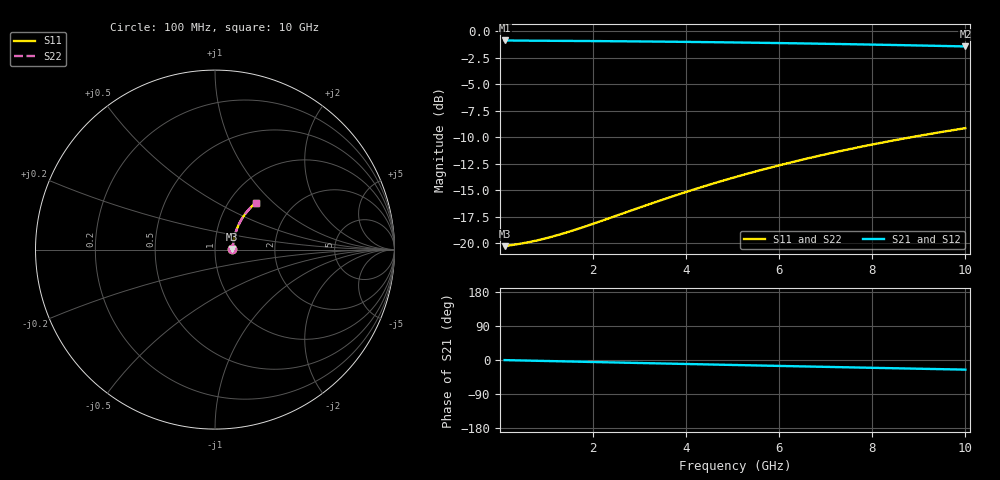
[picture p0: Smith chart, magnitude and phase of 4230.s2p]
# Hz S RI R 50.00
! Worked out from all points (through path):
!   100 points, 100 MHz to 10 GHz, reference 50 ohm
!   highest |S21| = -0.88 dB at 100 MHz (marker M1); lowest = -1.4 dB at 10 GHz (marker M2)
!   group delay of S21, straight-line fit = 7.07 ps
!   lowest |S11| = -20.3 dB at 100 MHz (marker M3), VSWR 1.21, Z = 60.7 + j0.39 ohm
!   |S11| at or under -10 dB: start of sweep to 8.849 GHz
!   |S22| runs from -20.3 to -9.2 dB; largest |S21 - S12| = 0
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1e8  0.0967 0.00318  0.9033 -0.00418  0.9033 -0.00418  0.0967 0.00318
5e8  0.0987 0.0158  0.9013 -0.0208  0.9013 -0.0208  0.0987 0.0158
7e8  0.0995 0.0221  0.9005 -0.0291  0.9005 -0.0291  0.0995 0.0221
9e8  0.1003 0.0284  0.8996 -0.0374  0.8996 -0.0374  0.1003 0.0284
1.1e9  0.1012 0.0346  0.8987 -0.0457  0.8987 -0.0457  0.1012 0.0346
1.3e9  0.1022 0.0409  0.8977 -0.0539  0.8977 -0.0539  0.1022 0.0409
1.5e9  0.1033 0.0471  0.8966 -0.0622  0.8966 -0.0622  0.1033 0.0471
1.8e9  0.105 0.0563  0.8948 -0.0744  0.8948 -0.0744  0.105 0.0563
2.6e9  0.1108 0.0807  0.8888 -0.1069  0.8888 -0.1069  0.1108 0.0807
3.4e9  0.1181 0.1045  0.8812 -0.1387  0.8812 -0.1387  0.1181 0.1045
3.9e9  0.1235 0.119  0.8756 -0.1582  0.8756 -0.1582  0.1235 0.119
4.3e9  0.1283 0.1303  0.8707 -0.1736  0.8707 -0.1736  0.1283 0.1303
4.7e9  0.1334 0.1415  0.8654 -0.1888  0.8654 -0.1888  0.1334 0.1415
5.1e9  0.1389 0.1524  0.8597 -0.2037  0.8597 -0.2037  0.1389 0.1524
5.5e9  0.1447 0.163  0.8537 -0.2184  0.8537 -0.2184  0.1447 0.163
5.9e9  0.1508 0.1734  0.8473 -0.2328  0.8473 -0.2328  0.1508 0.1734
6.3e9  0.1573 0.1835  0.8405 -0.247  0.8405 -0.247  0.1573 0.1835
6.7e9  0.1641 0.1933  0.8334 -0.2608  0.8334 -0.2608  0.1641 0.1933
7.5e9  0.1786 0.212  0.8183 -0.2876  0.8183 -0.2876  0.1786 0.212
8.4e9  0.1961 0.2315  0.8001 -0.3163  0.8001 -0.3163  0.1961 0.2315
9.2e9  0.2126 0.2474  0.7828 -0.3404  0.7828 -0.3404  0.2126 0.2474
1e10  0.2299 0.2619  0.7646 -0.3631  0.7646 -0.3631  0.2299 0.2619
